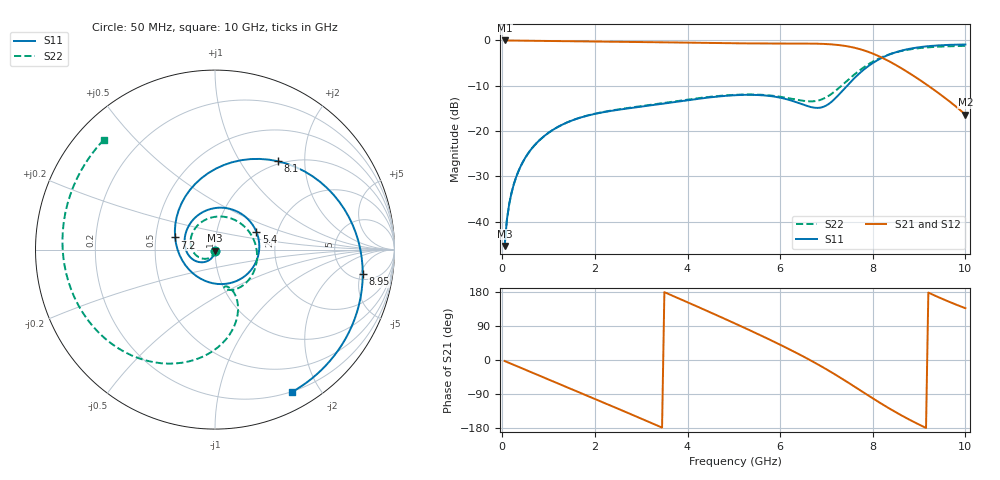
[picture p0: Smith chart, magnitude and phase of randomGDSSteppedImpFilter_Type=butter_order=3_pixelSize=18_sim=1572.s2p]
! freq	dB(S11)	phase(S11)	dB(S12)	phase(S12)
!  dB(S21)	phase(S21)	dB(S22)	phase(S22)
!S-par simulation data
#  GHz  S  DB  R 50
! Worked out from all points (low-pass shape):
!   200 points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, 50 MHz to 10 GHz, reference 50 ohm
!   highest |S21| = 0.00 dB at 50 MHz (marker M1); lowest = -16.4 dB at 10 GHz (marker M2)
!   |S21| within 3 dB of the highest: start of sweep to 8.025 GHz
!   lowest |S11| = -45.4 dB at 50 MHz (marker M3), VSWR 1.01, Z = 50 - j0.539 ohm
!   |S11| at or under -10 dB: start of sweep to 7.444 GHz
!   |S22| runs from -45.4 to -1.2 dB; largest |S21 - S12| = 0
!   S11 on the Smith chart (normalised r, x): 50 MHz: 1.00, -0.01; 5.4 GHz: 1.56, +0.33; 7.2 GHz: 0.63, +0.09; 8.1 GHz: 0.96, +1.49; 8.95 GHz: 6.08, -5.47; 10 GHz: 0.20, -1.66
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0.05  -45.36 -89.5  -0.00 -2.6  -0.00 -2.6  -45.40 -89.8
0.1  -39.52 -92.6  -0.01 -5.2  -0.01 -5.2  -39.54 -94.4
0.2  -33.59 -97.9  -0.02 -10.4  -0.02 -10.4  -33.61 -101.6
0.5  -25.82 -111.7  -0.05 -25.8  -0.05 -25.8  -25.84 -120.7
1.15  -19.38 -139.0  -0.12 -59.1  -0.12 -59.1  -19.37 -161.1
1.75  -16.84 -162.6  -0.19 -89.9  -0.19 -89.9  -16.81 160.6
2.5  -15.31 169.9  -0.28 -128.6  -0.28 -128.6  -15.22 110.5
2.95  -14.67 153.6  -0.34 -152.0  -0.34 -152.0  -14.56 80.0
3.4  -14.04 136.1  -0.40 -175.7  -0.40 -175.7  -13.91 50.5
4.15  -12.98 101.1  -0.51 144.3  -0.51 144.3  -12.84 6.1
4.6  -12.44 75.9  -0.58 119.8  -0.58 119.8  -12.32 -16.9
5.05  -12.08 47.5  -0.63 95.0  -0.63 95.0  -11.99 -37.2
5.4  -12.01 23.1  -0.66 75.3  -0.66 75.3  -11.93 -51.1
6.15  -13.00 -39.4  -0.68 31.3  -0.68 31.3  -12.68 -73.3
6.7  -14.78 -108.5  -0.70 -3.8  -0.70 -3.8  -13.44 -74.0
7.2  -12.68 163.1  -0.95 -39.2  -0.95 -39.2  -11.08 -66.0
7.65  -7.85 100.8  -1.73 -73.7  -1.73 -73.7  -7.12 -76.0
8.1  -4.37 54.4  -3.33 -108.8  -3.33 -108.8  -4.14 -99.8
8.35  -3.14 32.8  -4.58 -127.4  -4.58 -127.4  -3.09 -115.4
8.95  -1.57 -9.4  -8.28 -167.4  -8.28 -167.4  -1.76 -154.4
9.5  -1.05 -39.3  -12.23 161.3  -12.23 161.3  -1.34 169.4
10  -0.90 -61.5  -16.37 136.7  -16.37 136.7  -1.20 135.3
